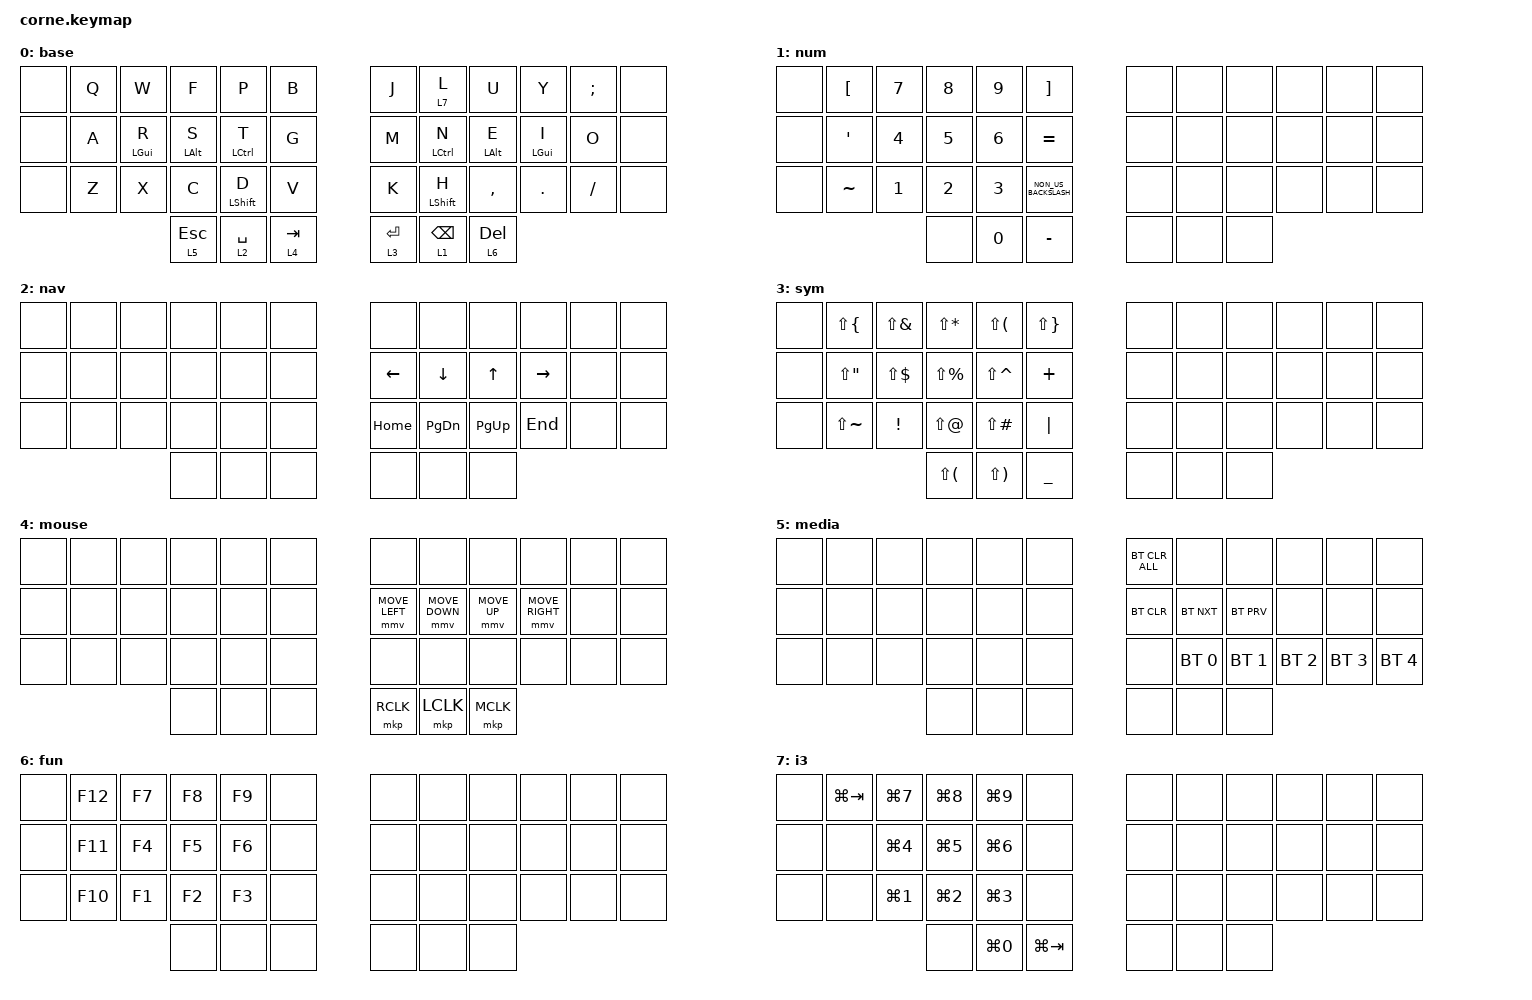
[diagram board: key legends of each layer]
/*
 * Copyright (c) 2020 The ZMK Contributors
 *
 * SPDX-License-Identifier: MIT
 */

#include <dt-bindings/zmk/mouse.h>
#include <behaviors.dtsi>
#include <dt-bindings/zmk/bt.h>
#include <dt-bindings/zmk/keys.h>
#include <dt-bindings/zmk/pointing.h>

&mt { flavor = "tap-preferred"; };

/ {
    macros {
        back_i3: back_i3 {
            compatible = "zmk,behavior-macro";
            #binding-cells = <0>;
            bindings = <&none>;
            label = "BACK_I3";
        };
    };

    keymap {
        compatible = "zmk,keymap";

        base {
            // -----------------------------------------------------------------------------------------
            // |  TAB |  Q  |  W  |  E  |  R  |  T  |   |  Y  |  U   |  I  |  O  |  P  | BKSP |
            // | CTRL |  A  |  S  |  D  |  F  |  G  |   |  H  |  J   |  K  |  L  |  ;  |  '   |
            // | SHFT |  Z  |  X  |  C  |  V  |  B  |   |  N  |  M   |  ,  |  .  |  /  | ESC  |
            //                    | GUI | LWR | SPC |   | ENT | RSE  | ALT |

            display-name = "base";
            bindings = <
&none  &kp Q  &kp W       &kp F           &kp P               &kp B        &kp J         &lt 7 L             &kp U           &kp Y           &kp SEMICOLON  &none
&none  &kp A  &mt LGUI R  &mt LEFT_ALT S  &mt LEFT_CONTROL T  &kp G        &kp M         &mt LEFT_CONTROL N  &mt LEFT_ALT E  &mt LEFT_GUI I  &kp O          &none
&none  &kp Z  &kp X       &kp C           &mt LEFT_SHIFT D    &kp V        &kp K         &mt LEFT_SHIFT H    &kp COMMA       &kp DOT         &kp FSLH       &none
                          &lt 5 ESCAPE    &lt 2 SPACE         &lt 4 TAB    &lt 3 RETURN  &lt 1 BACKSPACE     &lt 6 DELETE
            >;
        };

        num {
            // -----------------------------------------------------------------------------------------
            // |  TAB |  1  |  2  |  3  |  4  |  5  |   |  6  |  7  |  8  |  9  |  0  | BKSP |
            // | BTCLR| BT1 | BT2 | BT3 | BT4 | BT5 |   | LFT | DWN |  UP | RGT |     |      |
            // | SHFT |     |     |     |     |     |   |     |     |     |     |     |      |
            //                    | GUI |     | SPC |   | ENT |     | ALT |

            display-name = "num";
            bindings = <
&none  &kp LEFT_BRACKET  &kp NUMBER_7  &kp NUMBER_8  &kp NUMBER_9  &kp RIGHT_BRACKET       &none  &none  &none  &none  &none  &none
&none  &kp SQT           &kp NUMBER_4  &kp NUMBER_5  &kp NUMBER_6  &kp EQUAL               &none  &none  &none  &none  &none  &none
&none  &kp TILDE         &kp NUMBER_1  &kp NUMBER_2  &kp NUMBER_3  &kp NON_US_BACKSLASH    &none  &none  &none  &none  &none  &none
                                       &none         &kp N0        &kp MINUS               &none  &none  &none
            >;
        };

        nav {
            bindings = <
&none  &none  &none  &none  &none  &none    &none     &none           &none         &none      &none  &none
&none  &none  &none  &none  &none  &none    &kp LEFT  &kp DOWN_ARROW  &kp UP_ARROW  &kp RIGHT  &none  &none
&none  &none  &none  &none  &none  &none    &kp HOME  &kp PAGE_DOWN   &kp PAGE_UP   &kp END    &none  &none
                     &none  &none  &none    &none     &none           &none
            >;
        };

        sym {
            bindings = <
&none  &kp LS(LBRC)   &kp LS(AMPS)  &kp LS(STAR)     &kp LS(LPAR)   &kp LS(RBRC)      &none  &none  &none  &none  &none  &none
&none  &kp LS(DQT)    &kp LS(DLLR)  &kp LS(PRCNT)    &kp LS(CARET)  &kp PLUS          &none  &none  &none  &none  &none  &none
&none  &kp LS(TILDE)  &kp EXCL      &kp LS(AT_SIGN)  &kp LS(POUND)  &kp PIPE          &none  &none  &none  &none  &none  &none
                                    &kp LS(LPAR)     &kp LS(RPAR)   &kp UNDERSCORE    &none  &none  &none
            >;
        };

        mouse {
            bindings = <
&none  &none  &none  &none  &none  &none    &none           &none           &none         &none            &none  &none
&none  &none  &none  &none  &none  &none    &mmv MOVE_LEFT  &mmv MOVE_DOWN  &mmv MOVE_UP  &mmv MOVE_RIGHT  &none  &none
&none  &none  &none  &none  &none  &none    &none           &none           &none         &none            &none  &none
                     &none  &none  &none    &mkp RCLK       &mkp LCLK       &mkp MCLK
            >;
        };

        media {
            bindings = <
&none  &none  &none  &none  &none  &none    &bt BT_CLR_ALL  &none         &none         &none         &none         &none
&none  &none  &none  &none  &none  &none    &bt BT_CLR      &bt BT_NXT    &bt BT_PRV    &none         &none         &none
&none  &none  &none  &none  &none  &none    &none           &bt BT_SEL 0  &bt BT_SEL 1  &bt BT_SEL 2  &bt BT_SEL 3  &bt BT_SEL 4
                     &none  &none  &none    &none           &none         &none
            >;
        };

        fun {
            bindings = <
&none  &kp F12  &kp F7  &kp F8  &kp F9  &none    &none  &none  &none  &none  &none  &none
&none  &kp F11  &kp F4  &kp F5  &kp F6  &none    &none  &none  &none  &none  &none  &none
&none  &kp F10  &kp F1  &kp F2  &kp F3  &none    &none  &none  &none  &none  &none  &none
                        &none   &none   &none    &none  &none  &none
            >;
        };

        i3 {
            bindings = <
&none  &kp LG(TAB)  &kp LG(N7)        &kp LG(N8)        &kp LG(N9)        &none          &none  &none  &none  &none  &none  &none
&none  &none        &kp LG(NUMBER_4)  &kp LG(N5)        &kp LG(NUMBER_6)  &none          &none  &none  &none  &none  &none  &none
&none  &none        &kp LG(NUMBER_1)  &kp LG(NUMBER_2)  &kp LG(NUMBER_3)  &none          &none  &none  &none  &none  &none  &none
                                      &none             &kp LG(N0)        &kp LG(TAB)    &none  &none  &none
            >;
        };
    };

    conditional_layers { compatible = "zmk,conditional-layers"; };
};
